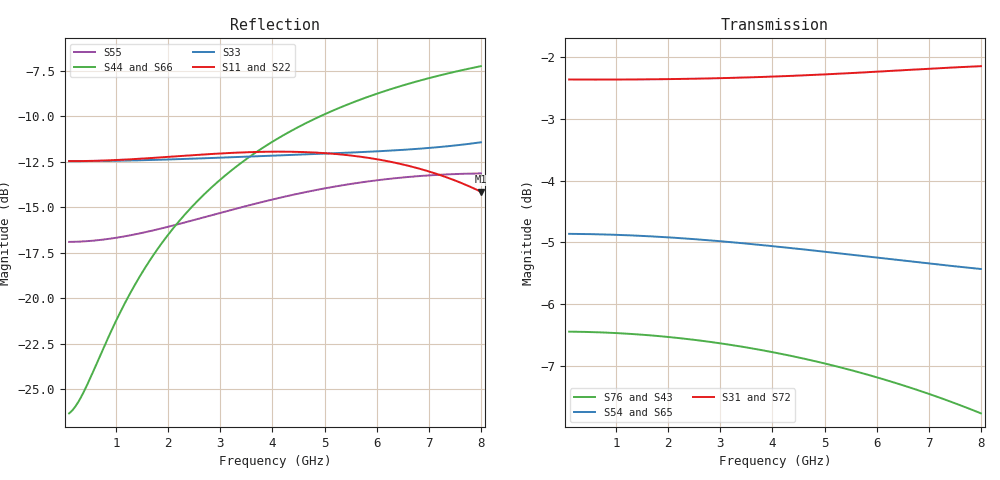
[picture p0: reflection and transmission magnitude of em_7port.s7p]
! Created with skrf 1.13.0 (http://scikit-rf.org).
# Hz S RI R 50.0
!freq ReS11 ImS11 ReS12 ImS12 ReS13 ImS13
! ReS14 ImS14 ReS15 ImS15 ReS16 ImS16 ReS17 ImS17
! ReS21 ImS21 ReS22 ImS22 ReS23 ImS23
! ReS24 ImS24 ReS25 ImS25 ReS26 ImS26 ReS27 ImS27
! ReS31 ImS31 ReS32 ImS32 ReS33 ImS33
! ReS34 ImS34 ReS35 ImS35 ReS36 ImS36 ReS37 ImS37
! ReS41 ImS41 ReS42 ImS42 ReS43 ImS43
! ReS44 ImS44 ReS45 ImS45 ReS46 ImS46 ReS47 ImS47
! ReS51 ImS51 ReS52 ImS52 ReS53 ImS53
! ReS54 ImS54 ReS55 ImS55 ReS56 ImS56 ReS57 ImS57
! ReS61 ImS61 ReS62 ImS62 ReS63 ImS63
! ReS64 ImS64 ReS65 ImS65 ReS66 ImS66 ReS67 ImS67
! ReS71 ImS71 ReS72 ImS72 ReS73 ImS73
! ReS74 ImS74 ReS75 ImS75 ReS76 ImS76 ReS77 ImS77
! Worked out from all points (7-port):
!   317 points, 100 MHz to 8 GHz, reference 50 ohm
!   strongest paths, dB at 100 MHz, 2.075 GHz, 4.05 GHz, 6.025 GHz, 8 GHz:
!     S31: -2.4, -2.4, -2.3, -2.2, -2.1
!     S72: -2.4, -2.4, -2.3, -2.2, -2.1
!     S54: -4.9, -4.9, -5.1, -5.2, -5.4
!     S65: -4.9, -4.9, -5.1, -5.3, -5.4
!     S76: -6.4, -6.5, -6.8, -7.2, -7.8
!     S43: -6.4, -6.5, -6.8, -7.2, -7.8
!   lowest |S11| = -14.1 dB at 8 GHz (marker M1), VSWR 1.49, Z = 73.1 + j7.25 ohm
!   |S11| at or under -10 dB: start of sweep to end of sweep
